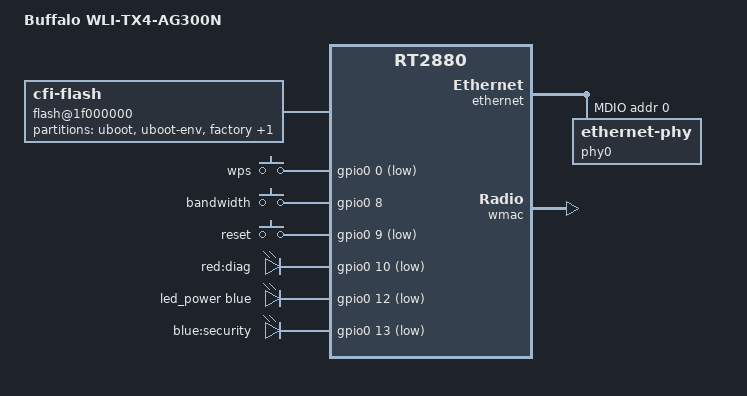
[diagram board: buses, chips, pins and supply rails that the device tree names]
#include "rt2880.dtsi"

#include <dt-bindings/gpio/gpio.h>
#include <dt-bindings/input/input.h>
#include <dt-bindings/leds/common.h>

/ {
	#address-cells = <1>;
	#size-cells = <1>;
	compatible = "buffalo,wli-tx4-ag300n", "ralink,rt2880-soc";
	model = "Buffalo WLI-TX4-AG300N";

	aliases {
		led-boot = &led_power;
		led-failsafe = &led_power;
		led-running = &led_power;
		led-upgrade = &led_power;
	};

	flash@1f000000 {
		compatible = "cfi-flash";
		reg = <0x1f000000 0x800000>;
		bank-width = <2>;
		device-width = <2>;

		partitions {
			compatible = "fixed-partitions";
			#address-cells = <1>;
			#size-cells = <1>;

			partition@0 {
				label = "uboot";
				reg = <0x0 0x30000>;
				read-only;
			};

			partition@30000 {
				label = "uboot-env";
				reg = <0x30000 0x10000>;
				read-only;
			};

			partition@40000 {
				label = "factory";
				reg = <0x40000 0x10000>;
				read-only;

				nvmem-layout {
					compatible = "fixed-layout";
					#address-cells = <1>;
					#size-cells = <1>;

					eeprom_factory_0: eeprom@0 {
						reg = <0x0 0x200>;
					};

					macaddr_factory_4: macaddr@4 {
						reg = <0x4 0x6>;
					};
				};
			};

			partition@50000 {
				compatible = "denx,uimage";
				label = "firmware";
				reg = <0x50000 0x3b0000>;
			};
		};
	};

	keys {
		compatible = "gpio-keys";

		wps {
			label = "wps";
			gpios = <&gpio0 0 GPIO_ACTIVE_LOW>;
			linux,code = <KEY_WPS_BUTTON>;
		};

		bandwidth {
			label = "bandwidth";
			gpios = <&gpio0 8 GPIO_ACTIVE_HIGH>;
			linux,code = <KEY_RESTART>;
		};

		reset {
			label = "reset";
			gpios = <&gpio0 9 GPIO_ACTIVE_LOW>;
			linux,code = <KEY_RESTART>;
		};
	};

	leds {
		compatible = "gpio-leds";

		diag {
			label = "red:diag";
			gpios = <&gpio0 10 GPIO_ACTIVE_LOW>;
		};

		led_power: power {
			function = LED_FUNCTION_POWER;
			color = <LED_COLOR_ID_BLUE>;
			gpios = <&gpio0 12 GPIO_ACTIVE_LOW>;
		};

		security {
			label = "blue:security";
			gpios = <&gpio0 13 GPIO_ACTIVE_LOW>;
		};
	};
};

&ethernet {
	status = "okay";
	nvmem-cells = <&macaddr_factory_4>;
	nvmem-cell-names = "mac-address";

	port@0 {
		mediatek,fixed-link = <100 1 1 1>;
	};

	mdio-bus {
		status = "okay";

		phy0: ethernet-phy@0 {
			phy-mode = "mii";
			reg = <0>;
		};
	};
};

&wmac {
	nvmem-cells = <&eeprom_factory_0>;
	nvmem-cell-names = "eeprom";
};
